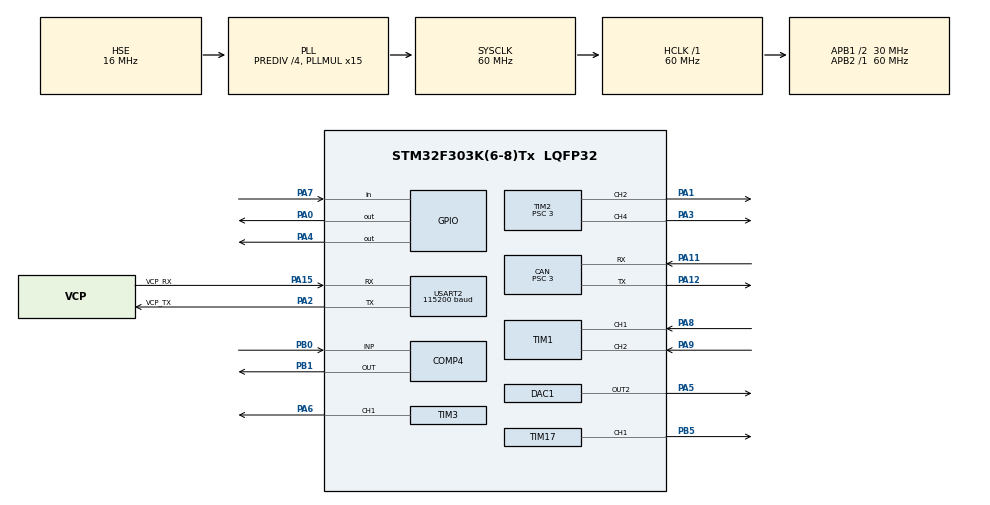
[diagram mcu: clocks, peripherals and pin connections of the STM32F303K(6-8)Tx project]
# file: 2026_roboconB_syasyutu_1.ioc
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CAN.BS1=CAN_BS1_7TQ
CAN.BS2=CAN_BS2_2TQ
CAN.CalculateBaudRate=1000000
CAN.CalculateTimeBit=1000
CAN.CalculateTimeQuantum=100.0
CAN.Prescaler=3
COMP4.InvertingInput=COMP_INVERTINGINPUT_DAC1_CH2
Mcu.Family=STM32F3
Mcu.Name=STM32F303K(6-8)Tx
Mcu.Package=LQFP32
NVIC.CAN_RX0_IRQn=true\:0\:0\:false\:false\:true\:true\:true\:true
NVIC.CAN_RX1_IRQn=true\:0\:0\:false\:false\:true\:true\:true\:true
NVIC.PriorityGroup=NVIC_PRIORITYGROUP_4
NVIC.TIM1_TRG_COM_TIM17_IRQn=true\:0\:0\:false\:false\:true\:true\:true\:true
PA0.Signal=GPIO_Output
PA1.Signal=S_TIM2_CH2
PA11.Mode=CAN_Activate
PA11.Signal=CAN_RX
PA12.Mode=CAN_Activate
PA12.Signal=CAN_TX
PA13.GPIO_Label=SWDIO
PA13.Mode=Serial_Wire
PA13.Signal=SYS_JTMS-SWDIO
PA14.GPIO_Label=SWCLK
PA14.Mode=Serial_Wire
PA14.Signal=SYS_JTCK-SWCLK
PA15.GPIO_Label=VCP_RX
PA15.Mode=Asynchronous
PA15.Signal=USART2_RX
PA2.GPIO_Label=VCP_TX
PA2.Mode=Asynchronous
PA2.Signal=USART2_TX
PA3.Signal=S_TIM2_CH4
PA4.Signal=GPIO_Output
PA5.Signal=COMP_DAC12_group
PA6.Signal=S_TIM3_CH1
PA7.GPIO_PuPd=GPIO_PULLUP
PA7.Signal=GPIO_Input
PA8.Signal=S_TIM1_CH1
PA9.Signal=S_TIM1_CH2
PB0.Mode=INP
PB0.Signal=COMP4_INP
PB1.Mode=ExternalOutput
PB1.Signal=COMP4_OUT
PB5.Signal=S_TIM17_CH1
PF0\ /\ OSC_IN.GPIO_Label=MCO
PF0\ /\ OSC_IN.Mode=HSE-External-Oscillator
PF0\ /\ OSC_IN.Signal=RCC_OSC_IN
PF1\ /\ OSC_OUT.Mode=HSE-External-Oscillator
PF1\ /\ OSC_OUT.Signal=RCC_OSC_OUT
ProjectManager.HeapSize=0x200
ProjectManager.StackSize=0x400
ProjectManager.TargetToolchain=Makefile
RCC.AHBFreq_Value=60000000
RCC.APB1CLKDivider=RCC_HCLK_DIV2
RCC.APB1Freq_Value=30000000
RCC.APB1TimFreq_Value=60000000
RCC.APB2Freq_Value=60000000
RCC.APB2TimFreq_Value=60000000
RCC.CortexFreq_Value=60000000
RCC.HCLKFreq_Value=60000000
RCC.HSE_VALUE=16000000
RCC.HSI_VALUE=8000000
RCC.PLLMUL=RCC_PLL_MUL15
RCC.PLLSourceVirtual=RCC_PLLSOURCE_HSE
RCC.RCC_PLLsource_Clock_Source_FROM_HSE=RCC_HSE_PREDIV_DIV4
RCC.SYSCLKFreq_VALUE=60000000
RCC.SYSCLKSourceVirtual=RCC_SYSCLKSOURCE_PLLCLK
SH.COMP_DAC12_group.0=DAC1_OUT2,DAC_OUT2
SH.S_TIM17_CH1.0=TIM17_CH1,Output Compare1 CH1
SH.S_TIM1_CH1.0=TIM1_CH1,Encoder_Interface
SH.S_TIM1_CH2.0=TIM1_CH2,Encoder_Interface
SH.S_TIM2_CH2.0=TIM2_CH2,PWM Generation2 CH2
SH.S_TIM2_CH4.0=TIM2_CH4,PWM Generation4 CH4
SH.S_TIM3_CH1.0=TIM3_CH1,PWM Generation1 CH1
TIM1.EncoderMode=TIM_ENCODERMODE_TI12
TIM17.Channel=TIM_CHANNEL_1
TIM17.OCMode_1=TIM_OCMODE_TOGGLE
TIM17.Period=39
TIM17.Prescaler=59999
TIM2.AutoReloadPreload=TIM_AUTORELOAD_PRELOAD_ENABLE
TIM2.Channel-PWM\ Generation2\ CH2=TIM_CHANNEL_2
TIM2.Channel-PWM\ Generation4\ CH4=TIM_CHANNEL_4
TIM2.Period=2999
TIM2.Prescaler=3
TIM3.Channel-PWM\ Generation1\ CH1=TIM_CHANNEL_1
TIM3.Period=19999
TIM3.Prescaler=59
USART2.BaudRate=115200
USART2.VirtualMode-Asynchronous=VM_ASYNC
VP_COMP4_VS_DAC1OUT2.Mode=INM_DAC1OUT2
VP_TIM17_VS_ClockSourceINT.Mode=Enable_Timer
VP_TIM2_VS_ClockSourceINT.Mode=Internal
VP_TIM3_VS_ClockSourceINT.Mode=Internal
board=NUCLEO-F303K8

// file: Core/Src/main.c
/* USER CODE BEGIN Header */
/**
 ******************************************************************************
 * @file           : main.c
 * @brief          : Main program body
 ******************************************************************************
 * @attention
 *
 * Copyright (c) 2026 STMicroelectronics.
 * All rights reserved.
 *
 * This software is licensed under terms that can be found in the LICENSE file
 * in the root directory of this software component.
 * If no LICENSE file comes with this software, it is provided AS-IS.
 *
 ******************************************************************************
 */
/* USER CODE END Header */
#include "main.h"

/* USER CODE BEGIN Includes */
#include <stdio.h>
#include <stdlib.h>
#include <math.h>
#include <string.h>
/* USER CODE END Includes */

CAN_HandleTypeDef hcan;

COMP_HandleTypeDef hcomp4;

DAC_HandleTypeDef hdac1;

TIM_HandleTypeDef htim1;
TIM_HandleTypeDef htim2;
TIM_HandleTypeDef htim3;
TIM_HandleTypeDef htim17;

UART_HandleTypeDef huart2;

void SystemClock_Config(void);
static void MX_GPIO_Init(void);
static void MX_USART2_UART_Init(void);
static void MX_CAN_Init(void);
static void MX_COMP4_Init(void);
static void MX_DAC1_Init(void);
static void MX_TIM1_Init(void);
static void MX_TIM2_Init(void);
static void MX_TIM3_Init(void);
static void MX_TIM17_Init(void);

/* USER CODE BEGIN 0 */
typedef enum
{
  SHOOT_IDLE,
  SHOOTING,
  HOMING,
  POSITIONING,
  SHOOT_READY
} ShootState;

volatile ShootState shoot_state = SHOOT_IDLE;

volatile int32_t count_1 = 0;

uint8_t TxData[8];
void CAN_TX(uint32_t recipient)
{
  // 送信用インスタンス等
  CAN_TxHeaderTypeDef TxHeader;
  uint32_t TxMailbox;

  // 送信メールボックスに空きがあったら送信開始
  if (recipient == 0x104 && 0 < HAL_CAN_GetTxMailboxesFreeLevel(&hcan))
  {
    // 送信用インスタンスの設定
    TxHeader.StdId = recipient; // 受取手のCANのID
    TxHeader.RTR = CAN_RTR_DATA;
    TxHeader.IDE = CAN_ID_STD;
    TxHeader.DLC = 8; // データ長を8byteに設定
    TxHeader.TransmitGlobalTime = DISABLE;
    // 各データ
    int32_t c1 = count_1;

    TxData[0] = (uint8_t)((c1 >> 8) & 0xFF);
    TxData[1] = (uint8_t)(c1 & 0xFF);
    TxData[2] = 0;
    TxData[3] = 0;
    TxData[4] = 0;
    TxData[5] = 0;
    TxData[6] = 0;
    TxData[7] = 0;
    // CANメッセージを送信
    if (HAL_CAN_AddTxMessage(&hcan, &TxHeader, TxData, &TxMailbox) != HAL_OK)
    {
      Error_Handler();
    }
  }

  if (recipient == 0x107 && 0 < HAL_CAN_GetTxMailboxesFreeLevel(&hcan))
  {
    // 送信用インスタンスの設定
    TxHeader.StdId = recipient; // 受取手のCANのID
    TxHeader.RTR = CAN_RTR_DATA;
    TxHeader.IDE = CAN_ID_STD;
    TxHeader.DLC = 8; // データ長を8byteに設定
    TxHeader.TransmitGlobalTime = DISABLE;
    // 各データ
    int32_t c1 = count_1;

    TxData[0] = 1;
    TxData[1] = 0;
    TxData[2] = 0;
    TxData[3] = 0;
    TxData[4] = 0;
    TxData[5] = 0;
    TxData[6] = 0;
    TxData[7] = 0;
    // CANメッセージを送信
    if (HAL_CAN_AddTxMessage(&hcan, &TxHeader, TxData, &TxMailbox) != HAL_OK)
    {
      Error_Handler();
    }
  }
}

typedef struct
{
  uint8_t data[8];
} CanFrame;

volatile uint32_t id;
// volatile uint8_t use_data[8];
volatile uint8_t can_buf[8];
volatile uint8_t can_buf_ps4[8];
volatile uint8_t can_updated = 0;
volatile uint8_t can_updated_ps4 = 0;

void HAL_CAN_RxFifo0MsgPendingCallback(CAN_HandleTypeDef *hcan)
{
  CAN_RxHeaderTypeDef RxHeader; // 受信メッセージの情報が格納されるインスタンス
  uint8_t RxData[8];            // 受信したデータを一時保存する配列
  if (HAL_CAN_GetRxMessage(hcan, CAN_RX_FIFO0, &RxHeader, RxData) == HAL_OK)
  {
    id = RxHeader.StdId; // RxHeaderの中に入っているidを取り出す
    if (id == 0x102)
    {
      for (int i = 0; i <= 7; i++)
      {
        can_buf[i] = RxData[i];
      }
      can_updated = 1;
    }
    if (id == 0x105)
    {
      for (int i = 0; i <= 7; i++)
      {
        can_buf_ps4[i] = RxData[i];
      }
      can_updated_ps4 = 1;
    }
    if (id == 0x106)
    {
      shoot_state = SHOOT_IDLE;

      __HAL_TIM_SET_COMPARE(&htim2, TIM_CHANNEL_2, 0);
      __HAL_TIM_SET_COMPARE(&htim2, TIM_CHANNEL_4, 0);
    }
  }
}

volatile uint8_t control_flag = 0;
void HAL_TIM_PeriodElapsedCallback(TIM_HandleTypeDef *htim)
{
  if (htim->Instance == TIM17)
  {
    control_flag = 1;
  }
}

int16_t read_encoder_value_1(void)
{
  int32_t val = (int16_t)TIM1->CNT;
  TIM1->CNT = 0;
  return val;
}

int _write(int file, char *ptr, int len)
{
  HAL_UART_Transmit(&huart2, (uint8_t *)ptr, len, 10);
  return len;
}

/* USER CODE END 0 */

int main(void)
{

  /* USER CODE BEGIN 1 */
  setbuf(stdout, NULL);
  /* USER CODE END 1 */

  /* MCU Configuration--------------------------------------------------------*/

  /* Reset of all peripherals, Initializes the Flash interface and the Systick. */
  HAL_Init();

  /* Configure the system clock */
  SystemClock_Config();

  /* Initialize all configured peripherals */
  MX_GPIO_Init();
  MX_USART2_UART_Init();
  MX_CAN_Init();
  MX_COMP4_Init();
  MX_DAC1_Init();
  MX_TIM1_Init();
  MX_TIM2_Init();
  MX_TIM3_Init();
  MX_TIM17_Init();
  /* USER CODE BEGIN 2 */
  HAL_COMP_Start(&hcomp4); // COMP4を起動
  HAL_DAC_Start(&hdac1, DAC_CHANNEL_2);
  HAL_DAC_SetValue(&hdac1, DAC_CHANNEL_2, DAC_ALIGN_12B_R, 2122); // 1.71v

  // CANスタート
  HAL_CAN_Start(&hcan);
  // 割り込み有効
  HAL_CAN_ActivateNotification(&hcan, CAN_IT_RX_FIFO0_MSG_PENDING);

  HAL_TIM_PWM_Start(&htim2, TIM_CHANNEL_2); // モーター
  HAL_TIM_PWM_Start(&htim2, TIM_CHANNEL_4);
  HAL_TIM_PWM_Start(&htim3, TIM_CHANNEL_1);       // サーボ
  HAL_TIM_Encoder_Start(&htim1, TIM_CHANNEL_ALL); // エンコーダー

  HAL_TIM_Base_Start_IT(&htim17);

  __HAL_TIM_SET_COMPARE(&htim2, TIM_CHANNEL_2, 0);
  __HAL_TIM_SET_COMPARE(&htim2, TIM_CHANNEL_4, 0);
  __HAL_TIM_SET_COMPARE(&htim3, TIM_CHANNEL_1, 0);

  uint32_t motor_start_time = 0;
  uint32_t switch_on = 0;
  uint8_t motor_running = 0;

  int pwm1 = 2999;
  int pwm2 = 500;
  int32_t START_OFFSET = -2100; // 射出スタート時の実際の値を入れる
  uint32_t souten_count = 0;
  uint8_t loader_sent = 0;
  /* USER CODE END 2 */

  /* Infinite loop */
  while (1)
  {

    /* USER CODE BEGIN 3 */
    uint8_t local_buf[8];
    static int32_t pwm = 0;
    static float time = 0.0f;

    if (can_updated)
    {
      __disable_irq();
      memcpy(local_buf, can_buf, 8);
      can_updated = 0;
      __enable_irq();

      // canデータ復元
      memcpy(&pwm, &local_buf[0], sizeof(int32_t));
      memcpy(&time, &local_buf[4], sizeof(float));

      // モーター開始
      shoot_state = SHOOTING;

      HAL_GPIO_WritePin(GPIOA, GPIO_PIN_4, GPIO_PIN_SET);
      HAL_GPIO_WritePin(GPIOA, GPIO_PIN_0, GPIO_PIN_SET);

      __HAL_TIM_SET_COMPARE(&htim2, TIM_CHANNEL_2, pwm);
      __HAL_TIM_SET_COMPARE(&htim2, TIM_CHANNEL_4, pwm);

      motor_start_time = HAL_GetTick();
      motor_running = 1;
    }

    if (can_updated_ps4)
    {
      __disable_irq();
      memcpy(local_buf, can_buf_ps4, 8);
      can_updated_ps4 = 0;
      __enable_irq();
      if (local_buf[0] == 1)
      {
        // モーター開始
        shoot_state = SHOOTING;

        HAL_GPIO_WritePin(GPIOA, GPIO_PIN_4, GPIO_PIN_SET);
        HAL_GPIO_WritePin(GPIOA, GPIO_PIN_0, GPIO_PIN_SET);

        __HAL_TIM_SET_COMPARE(&htim2, TIM_CHANNEL_2, pwm1);
        __HAL_TIM_SET_COMPARE(&htim2, TIM_CHANNEL_4, pwm1);

        time = 0.2f; // 200ms
        motor_start_time = HAL_GetTick();
        motor_running = 1;
      }

      if (local_buf[0] == 2)
      {
        // モーター開始
        shoot_state = SHOOTING;

        HAL_GPIO_WritePin(GPIOA, GPIO_PIN_4, GPIO_PIN_SET);
        HAL_GPIO_WritePin(GPIOA, GPIO_PIN_0, GPIO_PIN_SET);

        __HAL_TIM_SET_COMPARE(&htim2, TIM_CHANNEL_2, pwm2);
        __HAL_TIM_SET_COMPARE(&htim2, TIM_CHANNEL_4, pwm2);

        time = 0.2f; // 200ms
        motor_start_time = HAL_GetTick();
        motor_running = 1;
      }
    }

    if (control_flag)
    {
      control_flag = 0;

      count_1 += read_encoder_value_1();

      CAN_TX(0x104);
    }

    switch (shoot_state)
    {
    case SHOOTING:

      if ((HAL_GetTick() - motor_start_time) >= (uint32_t)(time * 1000.0f))
      {
        __HAL_TIM_SET_COMPARE(&htim2, TIM_CHANNEL_2, 0);
        __HAL_TIM_SET_COMPARE(&htim2, TIM_CHANNEL_4, 0);

        motor_running = 0;
        switch_on = HAL_GetTick();
        shoot_state = HOMING;
      }

      break;

    case HOMING:

      // HOMING開始から0.7秒経過するまでは停止
      if ((HAL_GetTick() - switch_on) < 700)
      {
        __HAL_TIM_SET_COMPARE(&htim2, TIM_CHANNEL_2, 0);
        __HAL_TIM_SET_COMPARE(&htim2, TIM_CHANNEL_4, 0);
      }
      // 0.7秒経過したらリミット探索開始
      else
      {
        // リミットスイッチが押されていない
        if (HAL_GPIO_ReadPin(GPIOA, GPIO_PIN_7) == GPIO_PIN_SET)
        {
          // 射出と同じ方向
          HAL_GPIO_WritePin(GPIOA, GPIO_PIN_4, GPIO_PIN_SET);
          HAL_GPIO_WritePin(GPIOA, GPIO_PIN_0, GPIO_PIN_SET);

          // ゆっくり回転
          __HAL_TIM_SET_COMPARE(&htim2, TIM_CHANNEL_2, 500);
          __HAL_TIM_SET_COMPARE(&htim2, TIM_CHANNEL_4, 500);
        }
        // リミットスイッチが押された
        else
        {
          // 停止
          __HAL_TIM_SET_COMPARE(&htim2, TIM_CHANNEL_2, 0);
          __HAL_TIM_SET_COMPARE(&htim2, TIM_CHANNEL_4, 0);

          // エンコーダーと累積カウントをリセット
          TIM1->CNT = 0;
          count_1 = 0;

          shoot_state = POSITIONING;
        }
      }

      break;

    case POSITIONING:
      if (count_1 > START_OFFSET)
      {
        __HAL_TIM_SET_COMPARE(&htim2, TIM_CHANNEL_2, 200);
        __HAL_TIM_SET_COMPARE(&htim2, TIM_CHANNEL_4, 200);
      }
      else
      {
        __HAL_TIM_SET_COMPARE(&htim2, TIM_CHANNEL_2, 0);
        __HAL_TIM_SET_COMPARE(&htim2, TIM_CHANNEL_4, 0);

        souten_count = HAL_GetTick();
        loader_sent = 0;

        shoot_state = SHOOT_READY;
      }

      break;

    case SHOOT_READY:

      /* モーター停止状態 */
      __HAL_TIM_SET_COMPARE(&htim2, TIM_CHANNEL_2, 0);
      __HAL_TIM_SET_COMPARE(&htim2, TIM_CHANNEL_4, 0);

      // 0.5秒で装填
      if (!loader_sent && (uint32_t)(HAL_GetTick() - souten_count) >= 500UL)
      {
        CAN_TX(0x107);
        loader_sent = 1;
      }

      break;

    case SHOOT_IDLE:

    default:

      __HAL_TIM_SET_COMPARE(&htim2, TIM_CHANNEL_2, 0);
      __HAL_TIM_SET_COMPARE(&htim2, TIM_CHANNEL_4, 0);

      break;
    }
  }
  /* USER CODE END 3 */
}

void SystemClock_Config(void)
{
  RCC_OscInitTypeDef RCC_OscInitStruct = {0};
  RCC_ClkInitTypeDef RCC_ClkInitStruct = {0};
  RCC_PeriphCLKInitTypeDef PeriphClkInit = {0};

  /** Initializes the RCC Oscillators according to the specified parameters
   * in the RCC_OscInitTypeDef structure.
   */
  RCC_OscInitStruct.OscillatorType = RCC_OSCILLATORTYPE_HSE;
  RCC_OscInitStruct.HSEState = RCC_HSE_ON;
  RCC_OscInitStruct.HSEPredivValue = RCC_HSE_PREDIV_DIV4;
  RCC_OscInitStruct.HSIState = RCC_HSI_ON;
  RCC_OscInitStruct.PLL.PLLState = RCC_PLL_ON;
  RCC_OscInitStruct.PLL.PLLSource = RCC_PLLSOURCE_HSE;
  RCC_OscInitStruct.PLL.PLLMUL = RCC_PLL_MUL15;
  if (HAL_RCC_OscConfig(&RCC_OscInitStruct) != HAL_OK)
  {
    Error_Handler();
  }

  /** Initializes the CPU, AHB and APB buses clocks
   */
  RCC_ClkInitStruct.ClockType = RCC_CLOCKTYPE_HCLK | RCC_CLOCKTYPE_SYSCLK | RCC_CLOCKTYPE_PCLK1 | RCC_CLOCKTYPE_PCLK2;
  RCC_ClkInitStruct.SYSCLKSource = RCC_SYSCLKSOURCE_PLLCLK;
  RCC_ClkInitStruct.AHBCLKDivider = RCC_SYSCLK_DIV1;
  RCC_ClkInitStruct.APB1CLKDivider = RCC_HCLK_DIV2;
  RCC_ClkInitStruct.APB2CLKDivider = RCC_HCLK_DIV1;

  if (HAL_RCC_ClockConfig(&RCC_ClkInitStruct, FLASH_LATENCY_2) != HAL_OK)
  {
    Error_Handler();
  }
  PeriphClkInit.PeriphClockSelection = RCC_PERIPHCLK_TIM1;
  PeriphClkInit.Tim1ClockSelection = RCC_TIM1CLK_HCLK;
  if (HAL_RCCEx_PeriphCLKConfig(&PeriphClkInit) != HAL_OK)
  {
    Error_Handler();
  }
}

static void MX_CAN_Init(void)
{

  hcan.Instance = CAN;
  hcan.Init.Prescaler = 3;
  hcan.Init.Mode = CAN_MODE_NORMAL;
  hcan.Init.SyncJumpWidth = CAN_SJW_1TQ;
  hcan.Init.TimeSeg1 = CAN_BS1_7TQ;
  hcan.Init.TimeSeg2 = CAN_BS2_2TQ;
  hcan.Init.TimeTriggeredMode = DISABLE;
  hcan.Init.AutoBusOff = DISABLE;
  hcan.Init.AutoWakeUp = DISABLE;
  hcan.Init.AutoRetransmission = DISABLE;
  hcan.Init.ReceiveFifoLocked = DISABLE;
  hcan.Init.TransmitFifoPriority = DISABLE;
  if (HAL_CAN_Init(&hcan) != HAL_OK)
  {
    Error_Handler();
  }
  /* USER CODE BEGIN CAN_Init 2 */
  CAN_FilterTypeDef filter = {0};

  filter.FilterBank = 0;
  filter.FilterMode = CAN_FILTERMODE_IDMASK;
  filter.FilterScale = CAN_FILTERSCALE_16BIT;

  filter.FilterIdHigh = 0x0000;
  filter.FilterIdLow = 0x0000;

  filter.FilterMaskIdHigh = 0x0000;
  filter.FilterMaskIdLow = 0x0000;

  filter.FilterFIFOAssignment = CAN_FILTER_FIFO0;
  filter.FilterActivation = ENABLE;
  filter.SlaveStartFilterBank = 14;

  if (HAL_CAN_ConfigFilter(&hcan, &filter) != HAL_OK)
  {
    Error_Handler();
  }
  /* USER CODE END CAN_Init 2 */
}

static void MX_COMP4_Init(void)
{

  hcomp4.Instance = COMP4;
  hcomp4.Init.InvertingInput = COMP_INVERTINGINPUT_DAC1_CH2;
  hcomp4.Init.NonInvertingInput = COMP_NONINVERTINGINPUT_IO1;
  hcomp4.Init.Output = COMP_OUTPUT_NONE;
  hcomp4.Init.OutputPol = COMP_OUTPUTPOL_NONINVERTED;
  hcomp4.Init.BlankingSrce = COMP_BLANKINGSRCE_NONE;
  hcomp4.Init.TriggerMode = COMP_TRIGGERMODE_NONE;
  if (HAL_COMP_Init(&hcomp4) != HAL_OK)
  {
    Error_Handler();
  }
}

static void MX_DAC1_Init(void)
{

  DAC_ChannelConfTypeDef sConfig = {0};

  /** DAC Initialization
   */
  hdac1.Instance = DAC1;
  if (HAL_DAC_Init(&hdac1) != HAL_OK)
  {
    Error_Handler();
  }

  /** DAC channel OUT2 config
   */
  sConfig.DAC_Trigger = DAC_TRIGGER_NONE;
  // sConfig.DAC_OutputSwitch = DAC_OUTPUTSWITCH_ENABLE;
  if (HAL_DAC_ConfigChannel(&hdac1, &sConfig, DAC_CHANNEL_2) != HAL_OK)
  {
    Error_Handler();
  }
}

static void MX_TIM1_Init(void)
{

  TIM_Encoder_InitTypeDef sConfig = {0};
  TIM_MasterConfigTypeDef sMasterConfig = {0};

  htim1.Instance = TIM1;
  htim1.Init.Prescaler = 0;
  htim1.Init.CounterMode = TIM_COUNTERMODE_UP;
  htim1.Init.Period = 65535;
  htim1.Init.ClockDivision = TIM_CLOCKDIVISION_DIV1;
  htim1.Init.RepetitionCounter = 0;
  htim1.Init.AutoReloadPreload = TIM_AUTORELOAD_PRELOAD_DISABLE;
  sConfig.EncoderMode = TIM_ENCODERMODE_TI12;
  sConfig.IC1Polarity = TIM_ICPOLARITY_RISING;
  sConfig.IC1Selection = TIM_ICSELECTION_DIRECTTI;
  sConfig.IC1Prescaler = TIM_ICPSC_DIV1;
  sConfig.IC1Filter = 0;
  sConfig.IC2Polarity = TIM_ICPOLARITY_RISING;
  sConfig.IC2Selection = TIM_ICSELECTION_DIRECTTI;
  sConfig.IC2Prescaler = TIM_ICPSC_DIV1;
  sConfig.IC2Filter = 0;
  if (HAL_TIM_Encoder_Init(&htim1, &sConfig) != HAL_OK)
  {
    Error_Handler();
  }
  sMasterConfig.MasterOutputTrigger = TIM_TRGO_RESET;
  sMasterConfig.MasterOutputTrigger2 = TIM_TRGO2_RESET;
  sMasterConfig.MasterSlaveMode = TIM_MASTERSLAVEMODE_DISABLE;
  if (HAL_TIMEx_MasterConfigSynchronization(&htim1, &sMasterConfig) != HAL_OK)
  {
    Error_Handler();
  }
}

static void MX_TIM2_Init(void)
{

  TIM_ClockConfigTypeDef sClockSourceConfig = {0};
  TIM_MasterConfigTypeDef sMasterConfig = {0};
  TIM_OC_InitTypeDef sConfigOC = {0};

  htim2.Instance = TIM2;
  htim2.Init.Prescaler = 3;
  htim2.Init.CounterMode = TIM_COUNTERMODE_UP;
  htim2.Init.Period = 2999;
  htim2.Init.ClockDivision = TIM_CLOCKDIVISION_DIV1;
  htim2.Init.AutoReloadPreload = TIM_AUTORELOAD_PRELOAD_ENABLE;
  if (HAL_TIM_Base_Init(&htim2) != HAL_OK)
  {
    Error_Handler();
  }
  sClockSourceConfig.ClockSource = TIM_CLOCKSOURCE_INTERNAL;
  if (HAL_TIM_ConfigClockSource(&htim2, &sClockSourceConfig) != HAL_OK)
  {
    Error_Handler();
  }
  if (HAL_TIM_PWM_Init(&htim2) != HAL_OK)
  {
    Error_Handler();
  }
  sMasterConfig.MasterOutputTrigger = TIM_TRGO_RESET;
  sMasterConfig.MasterSlaveMode = TIM_MASTERSLAVEMODE_DISABLE;
  if (HAL_TIMEx_MasterConfigSynchronization(&htim2, &sMasterConfig) != HAL_OK)
  {
    Error_Handler();
  }
  sConfigOC.OCMode = TIM_OCMODE_PWM1;
  sConfigOC.Pulse = 0;
  sConfigOC.OCPolarity = TIM_OCPOLARITY_HIGH;
  sConfigOC.OCFastMode = TIM_OCFAST_DISABLE;
  if (HAL_TIM_PWM_ConfigChannel(&htim2, &sConfigOC, TIM_CHANNEL_2) != HAL_OK)
  {
    Error_Handler();
  }
  if (HAL_TIM_PWM_ConfigChannel(&htim2, &sConfigOC, TIM_CHANNEL_4) != HAL_OK)
  {
    Error_Handler();
  }
  HAL_TIM_MspPostInit(&htim2);
}

static void MX_TIM3_Init(void)
{

  TIM_ClockConfigTypeDef sClockSourceConfig = {0};
  TIM_MasterConfigTypeDef sMasterConfig = {0};
  TIM_OC_InitTypeDef sConfigOC = {0};

  htim3.Instance = TIM3;
  htim3.Init.Prescaler = 59;
  htim3.Init.CounterMode = TIM_COUNTERMODE_UP;
  htim3.Init.Period = 19999;
  htim3.Init.ClockDivision = TIM_CLOCKDIVISION_DIV1;
  htim3.Init.AutoReloadPreload = TIM_AUTORELOAD_PRELOAD_DISABLE;
  if (HAL_TIM_Base_Init(&htim3) != HAL_OK)
  {
    Error_Handler();
  }
  sClockSourceConfig.ClockSource = TIM_CLOCKSOURCE_INTERNAL;
  if (HAL_TIM_ConfigClockSource(&htim3, &sClockSourceConfig) != HAL_OK)
  {
    Error_Handler();
  }
  if (HAL_TIM_PWM_Init(&htim3) != HAL_OK)
  {
    Error_Handler();
  }
  sMasterConfig.MasterOutputTrigger = TIM_TRGO_RESET;
  sMasterConfig.MasterSlaveMode = TIM_MASTERSLAVEMODE_DISABLE;
  if (HAL_TIMEx_MasterConfigSynchronization(&htim3, &sMasterConfig) != HAL_OK)
  {
    Error_Handler();
  }
  sConfigOC.OCMode = TIM_OCMODE_PWM1;
  sConfigOC.Pulse = 0;
  sConfigOC.OCPolarity = TIM_OCPOLARITY_HIGH;
  sConfigOC.OCFastMode = TIM_OCFAST_DISABLE;
  if (HAL_TIM_PWM_ConfigChannel(&htim3, &sConfigOC, TIM_CHANNEL_1) != HAL_OK)
  {
    Error_Handler();
  }
  HAL_TIM_MspPostInit(&htim3);
}

static void MX_TIM17_Init(void)
{

  TIM_OC_InitTypeDef sConfigOC = {0};
  TIM_BreakDeadTimeConfigTypeDef sBreakDeadTimeConfig = {0};

  htim17.Instance = TIM17;
  htim17.Init.Prescaler = 59999;
  htim17.Init.CounterMode = TIM_COUNTERMODE_UP;
  htim17.Init.Period = 39;
  htim17.Init.ClockDivision = TIM_CLOCKDIVISION_DIV1;
  htim17.Init.RepetitionCounter = 0;
  htim17.Init.AutoReloadPreload = TIM_AUTORELOAD_PRELOAD_DISABLE;
  if (HAL_TIM_Base_Init(&htim17) != HAL_OK)
  {
    Error_Handler();
  }
  if (HAL_TIM_OC_Init(&htim17) != HAL_OK)
  {
    Error_Handler();
  }
  sConfigOC.OCMode = TIM_OCMODE_TOGGLE;
  sConfigOC.Pulse = 0;
  sConfigOC.OCPolarity = TIM_OCPOLARITY_HIGH;
  sConfigOC.OCNPolarity = TIM_OCNPOLARITY_HIGH;
  sConfigOC.OCFastMode = TIM_OCFAST_DISABLE;
  sConfigOC.OCIdleState = TIM_OCIDLESTATE_RESET;
  sConfigOC.OCNIdleState = TIM_OCNIDLESTATE_RESET;
  if (HAL_TIM_OC_ConfigChannel(&htim17, &sConfigOC, TIM_CHANNEL_1) != HAL_OK)
  {
    Error_Handler();
  }
  sBreakDeadTimeConfig.OffStateRunMode = TIM_OSSR_DISABLE;
  sBreakDeadTimeConfig.OffStateIDLEMode = TIM_OSSI_DISABLE;
  sBreakDeadTimeConfig.LockLevel = TIM_LOCKLEVEL_OFF;
  sBreakDeadTimeConfig.DeadTime = 0;
  sBreakDeadTimeConfig.BreakState = TIM_BREAK_DISABLE;
  sBreakDeadTimeConfig.BreakPolarity = TIM_BREAKPOLARITY_HIGH;
  sBreakDeadTimeConfig.BreakFilter = 0;
  sBreakDeadTimeConfig.AutomaticOutput = TIM_AUTOMATICOUTPUT_DISABLE;
  if (HAL_TIMEx_ConfigBreakDeadTime(&htim17, &sBreakDeadTimeConfig) != HAL_OK)
  {
    Error_Handler();
  }
  HAL_TIM_MspPostInit(&htim17);
}

static void MX_USART2_UART_Init(void)
{

  huart2.Instance = USART2;
  huart2.Init.BaudRate = 115200;
  huart2.Init.WordLength = UART_WORDLENGTH_8B;
  huart2.Init.StopBits = UART_STOPBITS_1;
  huart2.Init.Parity = UART_PARITY_NONE;
  huart2.Init.Mode = UART_MODE_TX_RX;
  huart2.Init.HwFlowCtl = UART_HWCONTROL_NONE;
  huart2.Init.OverSampling = UART_OVERSAMPLING_16;
  huart2.Init.OneBitSampling = UART_ONE_BIT_SAMPLE_DISABLE;
  huart2.AdvancedInit.AdvFeatureInit = UART_ADVFEATURE_NO_INIT;
  if (HAL_UART_Init(&huart2) != HAL_OK)
  {
    Error_Handler();
  }
}

static void MX_GPIO_Init(void)
{
  GPIO_InitTypeDef GPIO_InitStruct = {0};

  /* GPIO Ports Clock Enable */
  __HAL_RCC_GPIOF_CLK_ENABLE();
  __HAL_RCC_GPIOA_CLK_ENABLE();
  __HAL_RCC_GPIOB_CLK_ENABLE();

  /*Configure GPIO pin Output Level */
  HAL_GPIO_WritePin(GPIOA, GPIO_PIN_0 | GPIO_PIN_4, GPIO_PIN_RESET);

  /*Configure GPIO pins : PA0 PA4 */
  GPIO_InitStruct.Pin = GPIO_PIN_0 | GPIO_PIN_4;
  GPIO_InitStruct.Mode = GPIO_MODE_OUTPUT_PP;
  GPIO_InitStruct.Pull = GPIO_NOPULL;
  GPIO_InitStruct.Speed = GPIO_SPEED_FREQ_LOW;
  HAL_GPIO_Init(GPIOA, &GPIO_InitStruct);

  /*Configure GPIO pin : PA7 */
  GPIO_InitStruct.Pin = GPIO_PIN_7;
  GPIO_InitStruct.Mode = GPIO_MODE_INPUT;
  GPIO_InitStruct.Pull = GPIO_PULLUP;
  HAL_GPIO_Init(GPIOA, &GPIO_InitStruct);

}

void Error_Handler(void)
{
  __disable_irq();
  while (1)
  {
  }
}
